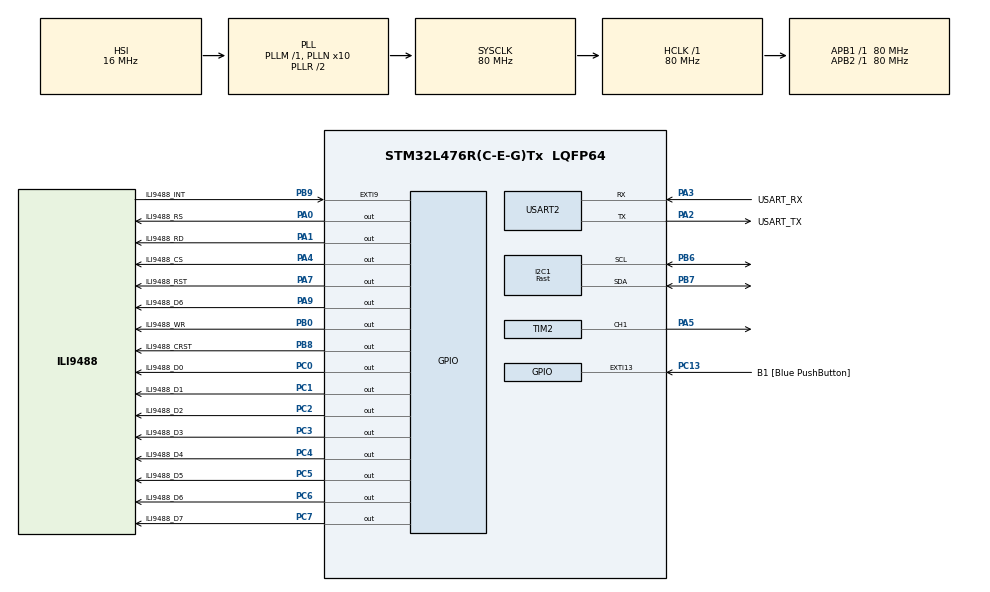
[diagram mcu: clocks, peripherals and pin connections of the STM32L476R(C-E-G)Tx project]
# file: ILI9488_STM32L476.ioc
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Dma.Request0=TIM2_CH1
Dma.TIM2_CH1.0.Direction=DMA_MEMORY_TO_PERIPH
Dma.TIM2_CH1.0.Instance=DMA1_Channel5
Dma.TIM2_CH1.0.MemDataAlignment=DMA_MDATAALIGN_WORD
Dma.TIM2_CH1.0.MemInc=DMA_MINC_ENABLE
Dma.TIM2_CH1.0.Mode=DMA_NORMAL
Dma.TIM2_CH1.0.PeriphDataAlignment=DMA_PDATAALIGN_WORD
Dma.TIM2_CH1.0.PeriphInc=DMA_PINC_DISABLE
Dma.TIM2_CH1.0.Priority=DMA_PRIORITY_VERY_HIGH
I2C1.CustomTiming=Disabled
I2C1.I2C_Speed_Mode=I2C_Fast
I2C1.Speed=400
I2C1.Timing=0x00702991
Mcu.Family=STM32L4
Mcu.Name=STM32L476R(C-E-G)Tx
Mcu.Package=LQFP64
NVIC.DMA1_Channel5_IRQn=true\:0\:0\:false\:false\:true\:false\:true
NVIC.EXTI9_5_IRQn=true\:0\:0\:false\:false\:true\:true\:true
NVIC.PriorityGroup=NVIC_PRIORITYGROUP_4
PA0.GPIO_Label=ILI9488_RS
PA0.GPIO_Speed=GPIO_SPEED_FREQ_VERY_HIGH
PA0.PinState=GPIO_PIN_SET
PA0.Signal=GPIO_Output
PA1.GPIO_Label=ILI9488_RD
PA1.GPIO_Speed=GPIO_SPEED_FREQ_VERY_HIGH
PA1.PinState=GPIO_PIN_SET
PA1.Signal=GPIO_Output
PA13\ (JTMS-SWDIO).GPIO_Label=TMS
PA13\ (JTMS-SWDIO).Mode=Serial_Wire
PA13\ (JTMS-SWDIO).Signal=SYS_JTMS-SWDIO
PA14\ (JTCK-SWCLK).GPIO_Label=TCK
PA14\ (JTCK-SWCLK).Mode=Serial_Wire
PA14\ (JTCK-SWCLK).Signal=SYS_JTCK-SWCLK
PA2.GPIO_Label=USART_TX
PA2.GPIO_Mode=GPIO_MODE_AF_PP
PA2.GPIO_PuPd=GPIO_NOPULL
PA2.GPIO_Speed=GPIO_SPEED_FREQ_VERY_HIGH
PA2.Mode=Asynchronous
PA2.Signal=USART2_TX
PA3.GPIO_Label=USART_RX
PA3.GPIO_Mode=GPIO_MODE_AF_PP
PA3.GPIO_PuPd=GPIO_NOPULL
PA3.GPIO_Speed=GPIO_SPEED_FREQ_VERY_HIGH
PA3.Mode=Asynchronous
PA3.Signal=USART2_RX
PA4.GPIO_Label=ILI9488_CS
PA4.GPIO_Speed=GPIO_SPEED_FREQ_VERY_HIGH
PA4.PinState=GPIO_PIN_SET
PA4.Signal=GPIO_Output
PA5.GPIO_Speed=GPIO_SPEED_FREQ_VERY_HIGH
PA5.Signal=S_TIM2_CH1
PA7.GPIO_Label=ILI9488_RST
PA7.Signal=GPIO_Output
PA9.GPIO_Label=ILI9488_D6
PA9.GPIO_ModeDefaultOutputPP=GPIO_MODE_OUTPUT_PP
PA9.GPIO_PuPd=GPIO_NOPULL
PA9.GPIO_Speed=GPIO_SPEED_FREQ_VERY_HIGH
PA9.PinState=GPIO_PIN_SET
PA9.Signal=GPIO_Output
PB0.GPIO_Label=ILI9488_WR
PB0.GPIO_Speed=GPIO_SPEED_FREQ_VERY_HIGH
PB0.PinState=GPIO_PIN_SET
PB0.Signal=GPIO_Output
PB6.GPIO_Pu=GPIO_PULLUP
PB6.Mode=I2C
PB6.Signal=I2C1_SCL
PB7.GPIO_Pu=GPIO_PULLUP
PB7.Mode=I2C
PB7.Signal=I2C1_SDA
PB8.GPIO_FM8=I2C_FASTMODEPLUS_PB8
PB8.GPIO_Label=ILI9488_CRST
PB8.GPIO_Speed=GPIO_SPEED_FREQ_VERY_HIGH
PB8.PinState=GPIO_PIN_SET
PB8.Signal=GPIO_Output
PB9.GPIO_Label=ILI9488_INT
PB9.GPIO_PuPd=GPIO_NOPULL
PB9.Signal=GPXTI9
PC0.GPIO_Label=ILI9488_D0
PC0.GPIO_ModeDefaultOutputPP=GPIO_MODE_OUTPUT_PP
PC0.GPIO_PuPd=GPIO_NOPULL
PC0.GPIO_Speed=GPIO_SPEED_FREQ_VERY_HIGH
PC0.PinState=GPIO_PIN_SET
PC0.Signal=GPIO_Output
PC1.GPIO_Label=ILI9488_D1
PC1.GPIO_ModeDefaultOutputPP=GPIO_MODE_OUTPUT_PP
PC1.GPIO_PuPd=GPIO_NOPULL
PC1.GPIO_Speed=GPIO_SPEED_FREQ_VERY_HIGH
PC1.PinState=GPIO_PIN_SET
PC1.Signal=GPIO_Output
PC13.GPIO_Label=B1 [Blue PushButton]
PC13.GPIO_ModeDefaultEXTI=GPIO_MODE_IT_FALLING
PC13.GPIO_PuPd=GPIO_NOPULL
PC13.Signal=GPXTI13
PC14-OSC32_IN\ (PC14).Mode=LSE-External-Oscillator
PC14-OSC32_IN\ (PC14).Signal=RCC_OSC32_IN
PC15-OSC32_OUT\ (PC15).Mode=LSE-External-Oscillator
PC15-OSC32_OUT\ (PC15).Signal=RCC_OSC32_OUT
PC2.GPIO_Label=ILI9488_D2
PC2.GPIO_ModeDefaultOutputPP=GPIO_MODE_OUTPUT_PP
PC2.GPIO_PuPd=GPIO_NOPULL
PC2.GPIO_Speed=GPIO_SPEED_FREQ_VERY_HIGH
PC2.PinState=GPIO_PIN_SET
PC2.Signal=GPIO_Output
PC3.GPIO_Label=ILI9488_D3
PC3.GPIO_ModeDefaultOutputPP=GPIO_MODE_OUTPUT_PP
PC3.GPIO_PuPd=GPIO_NOPULL
PC3.GPIO_Speed=GPIO_SPEED_FREQ_VERY_HIGH
PC3.PinState=GPIO_PIN_SET
PC3.Signal=GPIO_Output
PC4.GPIO_Label=ILI9488_D4
PC4.GPIO_ModeDefaultOutputPP=GPIO_MODE_OUTPUT_PP
PC4.GPIO_PuPd=GPIO_NOPULL
PC4.GPIO_Speed=GPIO_SPEED_FREQ_VERY_HIGH
PC4.PinState=GPIO_PIN_SET
PC4.Signal=GPIO_Output
PC5.GPIO_Label=ILI9488_D5
PC5.GPIO_ModeDefaultOutputPP=GPIO_MODE_OUTPUT_PP
PC5.GPIO_PuPd=GPIO_NOPULL
PC5.GPIO_Speed=GPIO_SPEED_FREQ_VERY_HIGH
PC5.PinState=GPIO_PIN_SET
PC5.Signal=GPIO_Output
PC6.GPIO_Label=ILI9488_D6
PC6.GPIO_ModeDefaultOutputPP=GPIO_MODE_OUTPUT_PP
PC6.GPIO_PuPd=GPIO_NOPULL
PC6.GPIO_Speed=GPIO_SPEED_FREQ_VERY_HIGH
PC6.PinState=GPIO_PIN_SET
PC6.Signal=GPIO_Output
PC7.GPIO_Label=ILI9488_D7
PC7.GPIO_ModeDefaultOutputPP=GPIO_MODE_OUTPUT_PP
PC7.GPIO_PuPd=GPIO_NOPULL
PC7.GPIO_Speed=GPIO_SPEED_FREQ_VERY_HIGH
PC7.PinState=GPIO_PIN_SET
PC7.Signal=GPIO_Output
PH0-OSC_IN\ (PH0).Signal=RCC_OSC_IN
PH1-OSC_OUT\ (PH1).Signal=RCC_OSC_OUT
ProjectManager.HeapSize=0x200
ProjectManager.StackSize=0x400
ProjectManager.TargetToolchain=Makefile
RCC.ADCFreq_Value=64000000
RCC.AHBFreq_Value=80000000
RCC.APB1Freq_Value=80000000
RCC.APB1TimFreq_Value=80000000
RCC.APB2Freq_Value=80000000
RCC.APB2TimFreq_Value=80000000
RCC.CortexFreq_Value=80000000
RCC.HCLKFreq_Value=80000000
RCC.HSE_VALUE=8000000
RCC.HSI_VALUE=16000000
RCC.MSI_VALUE=4000000
RCC.PLLN=10
RCC.PLLSourceVirtual=RCC_PLLSOURCE_HSI
RCC.PREFETCH_ENABLE=1
RCC.SYSCLKFreq_VALUE=80000000
RCC.SYSCLKSource=RCC_SYSCLKSOURCE_PLLCLK
RCC.USBFreq_Value=64000000
RCC.VCOOutputFreq_Value=160000000
SH.S_TIM2_CH1.0=TIM2_CH1,PWM Generation1 CH1
TIM2.AutoReloadPreload=TIM_AUTORELOAD_PRELOAD_DISABLE
TIM2.Channel-PWM\ Generation1\ CH1=TIM_CHANNEL_1
TIM2.OCFastMode_PWM-PWM\ Generation1\ CH1=TIM_OCFAST_ENABLE
TIM2.Period=199
TIM2.Prescaler=40
TIM2.Pulse-PWM\ Generation1\ CH1=100
TIM2.TIM_MasterOutputTrigger=TIM_TRGO_UPDATE
USART2.VirtualMode-Asynchronous=VM_ASYNC
VP_TIM2_VS_ClockSourceINT.Mode=Internal
board=NUCLEO-L476RG

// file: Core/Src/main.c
/* USER CODE BEGIN Header */
/**
  ******************************************************************************
  * @file           : main.c
  * @brief          : Main program body
  ******************************************************************************
  * @attention
  *
  * Copyright (c) 2021 STMicroelectronics.
  * All rights reserved.
  *
  * This software is licensed under terms that can be found in the LICENSE file
  * in the root directory of this software component.
  * If no LICENSE file comes with this software, it is provided AS-IS.
  *
  ******************************************************************************
  */
/* USER CODE END Header */
#include "main.h"
#include "dma.h"
#include "i2c.h"
#include "tim.h"
#include "usart.h"
#include "gpio.h"

/* USER CODE BEGIN Includes */
#include "stdbool.h"
#include "../lvgl/lvgl.h"
#include "demo_widgets.h"
#include "gui.h"
#include "ILI9488.h"
#include "GT911.h"
/* USER CODE END Includes */

void SystemClock_Config(void);
/* USER CODE BEGIN PFP */
static void hal_init(void);
void my_input_read(lv_indev_drv_t * drv, lv_indev_data_t*data);
void my_flush_cb(lv_disp_drv_t * disp_drv, const lv_area_t * area, lv_color_t * color_p);

/* USER CODE END PFP */

/* USER CODE BEGIN 0 */
ILI9488_Typedef* driver;

/* USER CODE END 0 */

int main(void)
{

  /* MCU Configuration--------------------------------------------------------*/

  /* Reset of all peripherals, Initializes the Flash interface and the Systick. */
  HAL_Init();

  /* Configure the system clock */
  SystemClock_Config();

  /* Initialize all configured peripherals */
  MX_GPIO_Init();
  MX_USART2_UART_Init();
  MX_TIM2_Init();
  MX_DMA_Init();
  MX_I2C1_Init();
  /* USER CODE BEGIN 2 */
  HAL_NVIC_DisableIRQ(EXTI9_5_IRQn);

  driver = ILI9488_Create();

  driver->init(driver);

  lv_init();

  hal_init();

  gui_init();

  /* USER CODE END 2 */

  /* Infinite loop */
  /* USER CODE BEGIN WHILE */
  while (1)
  {
    /* Periodically call the lv_task handler.
    * It could be done in a timer interrupt or an OS task too.*/
    lv_timer_handler();
    /* USER CODE END WHILE */

  }
}

void SystemClock_Config(void)
{
  RCC_OscInitTypeDef RCC_OscInitStruct = {0};
  RCC_ClkInitTypeDef RCC_ClkInitStruct = {0};

  /** Configure the main internal regulator output voltage
  */
  if (HAL_PWREx_ControlVoltageScaling(PWR_REGULATOR_VOLTAGE_SCALE1) != HAL_OK)
  {
    Error_Handler();
  }
  /** Initializes the RCC Oscillators according to the specified parameters
  * in the RCC_OscInitTypeDef structure.
  */
  RCC_OscInitStruct.OscillatorType = RCC_OSCILLATORTYPE_HSI;
  RCC_OscInitStruct.HSIState = RCC_HSI_ON;
  RCC_OscInitStruct.HSICalibrationValue = RCC_HSICALIBRATION_DEFAULT;
  RCC_OscInitStruct.PLL.PLLState = RCC_PLL_ON;
  RCC_OscInitStruct.PLL.PLLSource = RCC_PLLSOURCE_HSI;
  RCC_OscInitStruct.PLL.PLLM = 1;
  RCC_OscInitStruct.PLL.PLLN = 10;
  RCC_OscInitStruct.PLL.PLLP = RCC_PLLP_DIV7;
  RCC_OscInitStruct.PLL.PLLQ = RCC_PLLQ_DIV2;
  RCC_OscInitStruct.PLL.PLLR = RCC_PLLR_DIV2;
  if (HAL_RCC_OscConfig(&RCC_OscInitStruct) != HAL_OK)
  {
    Error_Handler();
  }
  /** Initializes the CPU, AHB and APB buses clocks
  */
  RCC_ClkInitStruct.ClockType = RCC_CLOCKTYPE_HCLK|RCC_CLOCKTYPE_SYSCLK
                              |RCC_CLOCKTYPE_PCLK1|RCC_CLOCKTYPE_PCLK2;
  RCC_ClkInitStruct.SYSCLKSource = RCC_SYSCLKSOURCE_PLLCLK;
  RCC_ClkInitStruct.AHBCLKDivider = RCC_SYSCLK_DIV1;
  RCC_ClkInitStruct.APB1CLKDivider = RCC_HCLK_DIV1;
  RCC_ClkInitStruct.APB2CLKDivider = RCC_HCLK_DIV1;

  if (HAL_RCC_ClockConfig(&RCC_ClkInitStruct, FLASH_LATENCY_4) != HAL_OK)
  {
    Error_Handler();
  }
}

/* USER CODE BEGIN 4 */
/**
 * Initialize the Hardware Abstraction Layer (HAL) for the LVGL graphics
 * library
 */
static void hal_init(void)
{

  driver->init(driver);

  /*Create a display buffer*/
  static lv_disp_draw_buf_t disp_buf1;
  static lv_color_t buf1_1[ILI9488_VER_RES * 30];
  //static lv_color_t buf1_2[ILI9488_VER_RES * 30];
  lv_disp_draw_buf_init(&disp_buf1, buf1_1, NULL, ILI9488_VER_RES * 30);

  /*Create a display*/
  static lv_disp_drv_t disp_drv;
  lv_disp_drv_init(&disp_drv); /*Basic initialization*/
  disp_drv.draw_buf = &disp_buf1;
  disp_drv.flush_cb = my_flush_cb;
  disp_drv.hor_res = ILI9488_HOR_RES;
  disp_drv.ver_res = ILI9488_VER_RES;
  disp_drv.antialiasing = 1;
  disp_drv.rotated = 0;

  lv_disp_t * disp = lv_disp_drv_register(&disp_drv);

  lv_theme_t * th = lv_theme_default_init(disp, lv_palette_main(LV_PALETTE_BLUE), lv_palette_main(LV_PALETTE_RED), LV_THEME_DEFAULT_DARK, LV_FONT_DEFAULT);
  lv_disp_set_theme(disp, th);

  lv_group_t * g = lv_group_create();
  lv_group_set_default(g);

  /* Add the mouse as input device
   * Use the 'mouse' driver which reads the PC's mouse*/
  // Init touch pad
  GT911_init();
  // mouse_init();
  static lv_indev_drv_t indev_drv_1;
  lv_indev_drv_init(&indev_drv_1); /*Basic initialization*/
  indev_drv_1.type = LV_INDEV_TYPE_POINTER;

  /*This function will be called periodically (by the library) to get the mouse position and state*/
  indev_drv_1.read_cb = my_input_read;
  lv_indev_drv_register(&indev_drv_1);

}

void my_input_read(lv_indev_drv_t * drv, lv_indev_data_t*data) {

  uint8_t buffer;
  uint16_t cmd = 0x4E81;
  HAL_I2C_Master_Transmit(&hi2c1, 0x28, (uint8_t*)&cmd, 2, 1000);
  HAL_I2C_Master_Receive(&hi2c1, 0x29, &buffer, 1, 1000);

  if((buffer & 0x80) && ((buffer & 0x01) == 0x01)) {
    uint8_t x1 = 0;
    uint8_t x2 = 0;
    uint8_t y1 = 0;
    uint8_t y2 = 0;

    cmd = 0x5081;
    HAL_I2C_Master_Transmit(&hi2c1, 0x28, (uint8_t*)&cmd, 2, 1000);
    HAL_I2C_Master_Receive(&hi2c1, 0x29, &x1, 1, 1000);

    cmd = 0x5181;
    HAL_I2C_Master_Transmit(&hi2c1, 0x28, (uint8_t*)&cmd, 2, 1000);
    HAL_I2C_Master_Receive(&hi2c1, 0x29, &x2, 1, 1000);

    // Read y for point
    cmd = 0x5281;
    HAL_I2C_Master_Transmit(&hi2c1, 0x28, (uint8_t*)&cmd, 2, 1000);
    HAL_I2C_Master_Receive(&hi2c1, 0x29, &y1, 1, 1000);

    cmd = 0x5381;
    HAL_I2C_Master_Transmit(&hi2c1, 0x28, (uint8_t*)&cmd, 2, 1000);
    HAL_I2C_Master_Receive(&hi2c1, 0x29, &y2, 1, 1000);

    uint8_t cmd2[3] = {0x81, 0x4E, (buffer & 0x7E)};
    HAL_I2C_Master_Transmit(&hi2c1, 0x28, cmd2, 3, 1000);

    #if (ILI9488_LANDSCAPE)
    data->point.y = ((x1) | (x2 << 8));
    data->point.x = 480 - ((y1) | (y2 << 8));
    #endif
    #if (ILI9488_PORTRAIT)
    data->point.y = ((y1) | (y2 << 8));
    data->point.x = ((x1) | (x2 << 8));
    #endif

    data->state = LV_INDEV_STATE_PRESSED;
  } else {
    uint8_t cmd2[3] = {0x81, 0x4E, (buffer & 0x7E)};
    HAL_I2C_Master_Transmit(&hi2c1, 0x28, cmd2, 3, 1000);
    data->state = LV_INDEV_STATE_RELEASED;
  }
}

void my_flush_cb(lv_disp_drv_t * disp_drv, const lv_area_t * area, lv_color_t * color_p) {

    /*The most simple case (but also the slowest) to put all pixels to the screen one-by-one
     *`put_px` is just an example, it needs to implemented by you.*/
    ILI9488_column_addr_set((uint16_t)area->x1, (uint16_t)area->x2);
    ILI9488_page_addr_set((uint16_t)area->y1, (uint16_t)area->y2);
    driver->draw_buffer((uint16_t*)color_p, (uint16_t)lv_area_get_size(area));

    /* IMPORTANT!!!
     * Inform the graphics library that you are ready with the flushing*/
    lv_disp_flush_ready(disp_drv);
}
/* USER CODE END 4 */

void Error_Handler(void)
{
  __disable_irq();
  while (1)
  {
  }
}
